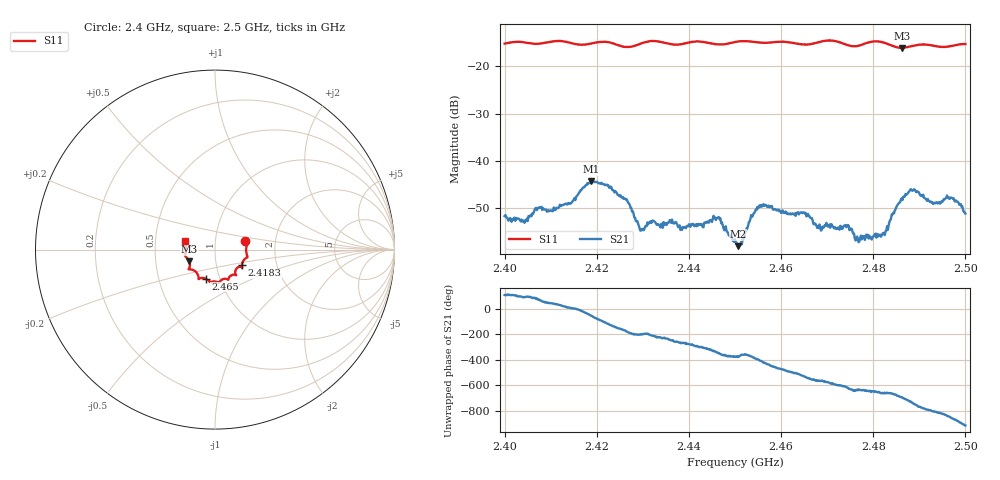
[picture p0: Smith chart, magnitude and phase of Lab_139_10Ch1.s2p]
# Hz S RI R 50
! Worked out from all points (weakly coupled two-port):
!   601 points, 2.4 GHz to 2.5 GHz, reference 50 ohm
!   highest |S21| = -44.35 dB at 2.4188 GHz (marker M1); lowest = -58.1 dB at 2.4507 GHz (marker M2)
!   lowest |S11| = -16.1 dB at 2.4862 GHz (marker M3), VSWR 1.37, Z = 37.2 - j4.89 ohm
!   |S11| at or under -10 dB: start of sweep to end of sweep
!   S12 and S22 are empty: the file has one direction only
!   S11 on the Smith chart (normalised r, x): 2.4 GHz: 1.40, +0.14; 2.4183 GHz: 1.33, -0.24; 2.465 GHz: 0.86, -0.29; 2.5 GHz: 0.71, +0.07
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2.4e9  0.1678 0.0471  -0.000886 0.00245  0 0  0 0
2.4045e9  0.1774 0.0228  -0.000213 0.00232  0 0  0 0
2.416667e9  0.1552 -0.0679  0.00475 -0.00126  0 0  0 0
2.418333e9  0.1499 -0.0862  0.00422 -0.00404  0 0  0 0
2.418833e9  0.1495 -0.0907  0.00354 -0.00492  0 0  0 0
2.426167e9  0.1247 -0.1012  -0.00392 -0.000772  0 0  0 0
2.429667e9  0.1129 -0.1336  -0.00176 0.000677  0 0  0 0
2.433333e9  0.1171 -0.1414  -0.0016 0.00142  0 0  0 0
2.445833e9  0.0553 -0.1626  0.00217 0.000953  0 0  0 0
2.45e9  0.0259 -0.1793  0.00143 -0.000384  0 0  0 0
2.450667e9  0.0237 -0.182  0.00119 -0.000374  0 0  0 0
2.455667e9  0.00256 -0.1782  0.0023 -0.00251  0 0  0 0
2.465e9  -0.0527 -0.162  -0.00279 -0.000581  0 0  0 0
2.466667e9  -0.0706 -0.1578  -0.0024 0.000628  0 0  0 0
2.474167e9  -0.0955 -0.1401  -0.000574 0.0019  0 0  0 0
2.4765e9  -0.1153 -0.1169  0.000224 0.00157  0 0  0 0
2.483333e9  -0.1414 -0.0965  0.00102 0.00181  0 0  0 0
2.486167e9  -0.1433 -0.0641  0.00355 0.00187  0 0  0 0
2.488667e9  -0.1599 -0.0421  0.0046 -0.00172  0 0  0 0
2.493e9  -0.1646 -0.0197  0.000332 -0.00349  0 0  0 0
2.497e9  -0.1624 0.0263  -0.00291 -0.00284  0 0  0 0
2.5e9  -0.1658 0.0473  -0.00268 0.000685  0 0  0 0
